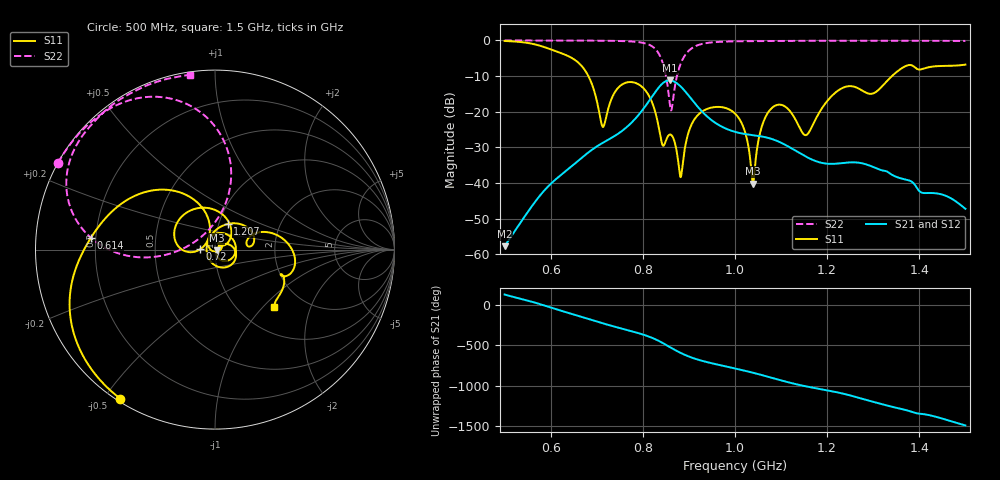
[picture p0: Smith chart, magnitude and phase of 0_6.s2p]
! TOUCHSTONE file generated by CST MICROWAVE STUDIO
! Date and time: Mon Sep 28 14:06:26 2020
! Project name: Scenario_1_Free_SPace.cst
! Parameters = {dx1=260; L_HA=400; MT=2.54; Rad_Dielectric=30; Rad_Lower=7.3; Rad_Upper=30; a_HA=580; a_WG=246; b_HA=500; b_WG=121; c_HA=0; c_WG=187; d_feed=85; h_feed=15; h_lower=18; h_upper=40}
! Header version: 2018
! Port assignment regex: !\s*Touchstone port\s*([0-9]+)\s*=\s*(CST MWS port|CST DS port)\s*([0-9]+|Zmin|Zmax)\s*\(\"(.*)\"\)(\s*mode\s*([0-9]+))?.*
! Touchstone port assignment:
! Touchstone port 1 = CST MWS port 1 ("")
! Touchstone port 2 = CST MWS port 2 ("")
# GHz S DB R 50
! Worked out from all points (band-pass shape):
!   1003 points, 500 MHz to 1.5 GHz, reference 50 ohm
!   highest |S21| = -11.19 dB at 858 MHz (marker M1); lowest = -57.7 dB at 500 MHz (marker M2)
!   |S21| within 3 dB of the highest: 828.6 MHz to 891.3 MHz (62.71 MHz wide, 7.29 % of centre)
!   lowest |S11| = -40.1 dB at 1.039 GHz (marker M3), VSWR 1.02, Z = 50.9 - j0.33 ohm
!   |S11| at or under -10 dB: 681.8 MHz to 1.341 GHz (658.8 MHz wide, 65.1 % of centre)
!   |S22| runs from -19.6 to 0.0 dB; largest |S21 - S12| = 0.00011
!   S11 on the Smith chart (normalised r, x): 500 MHz: 0.01, -0.55; 614 MHz: 0.18, +0.04; 720 MHz: 0.85, +0.00; 1.207 GHz: 1.10, +0.32; 1.5 GHz: 1.43, -1.16
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0.5  -0.14 -122.5  -57.70 125.8  -57.70 125.8  -0.01 151.1
0.614  -3.15 174.7  -38.62 -59.4  -38.62 -59.4  -0.02 143.0
0.667  -7.13 130.6  -32.96 -148.8  -32.96 -148.8  -0.04 138.4
0.711  -23.72 129.7  -28.87 134.4  -28.87 134.4  -0.08 133.6
0.72  -21.72 178.5  -28.20 119.2  -28.20 119.2  -0.09 132.4
0.743  -13.81 175.2  -26.45 82.8  -26.45 82.8  -0.14 129.0
0.778  -11.72 126.7  -22.72 29.8  -22.72 29.8  -0.32 121.2
0.812  -15.23 64.2  -17.25 -30.6  -17.25 -30.6  -1.11 106.7
0.834  -24.03 25.0  -13.27 -84.6  -13.27 -84.6  -3.58 88.5
0.844  -29.54 47.7  -11.92 -115.0  -11.92 -115.0  -6.64 79.0
0.858  -26.41 50.5  -11.19 -160.9  -11.19 -160.9  -17.24 94.9
0.882  -38.35 -99.4  -12.91 125.6  -12.91 125.6  -6.56 -175.4
0.919  -20.99 86.4  -18.58 43.5  -18.58 43.5  -1.35 162.1
1  -20.50 -40.4  -25.64 -66.5  -25.64 -66.5  -0.25 140.7
1.022  -25.76 -68.4  -26.26 -95.4  -26.26 -95.4  -0.21 137.8
1.039  -40.14 -19.2  -26.57 -119.1  -26.57 -119.1  -0.20 135.8
1.058  -24.22 30.8  -26.94 -147.5  -26.94 -147.5  -0.18 133.9
1.082  -18.72 -6.4  -27.73 174.8  -27.73 174.8  -0.16 131.6
1.167  -24.19 128.0  -33.41 58.3  -33.41 58.3  -0.09 124.4
1.207  -15.97 63.8  -34.62 16.4  -34.62 16.4  -0.09 121.3
1.334  -10.84 20.1  -37.10 -169.8  -37.15 -169.6  -0.09 111.6
1.5  -6.78 -44.0  -47.21 -49.7  -47.26 -49.8  -0.14 98.3
